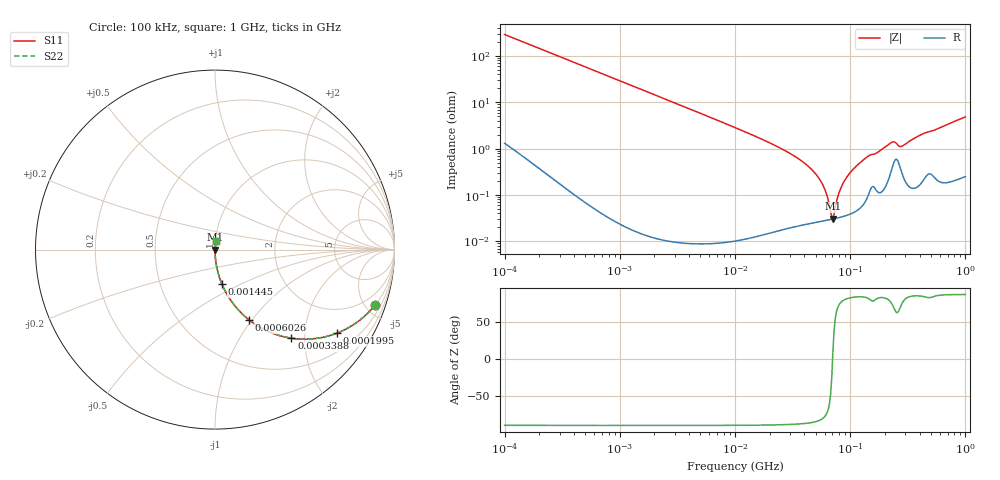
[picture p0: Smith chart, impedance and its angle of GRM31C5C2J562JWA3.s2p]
!Murata Part Number: GRM31C5C2J562JWA3
!These Parameters are Measured in Series Mode Connection
!Data Generated on Mar 30, 2021
!  o--ll--o
!Port1  Port2
!  o------o
!Operation Temp=25[degC], DC Bias Voltage=0[V]
!Freq. Start=100[kHz] Stop=1000[MHz] 401[Steps]
# Hz S RI R 50
!Freq.(Hz) S11(Real) S11(Imag) S21(Real) S21(Imag) S12(Real) S12(Imag) S22(Real) S22(Imag)
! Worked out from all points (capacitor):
!   401 points, 100 kHz to 1 GHz, reference 50 ohm
!   read as one part in series: C = 5.46 nF near 104.7 kHz
!   lowest |Z| = 30.7 mohm at 70.79 MHz (marker M1)
!   series resonance near 70.36 MHz, so ESL is about 940 pH
!   S11 on the Smith chart (normalised r, x): 100 kHz: 1.03, -5.82; 199.5 kHz: 1.01, -2.92; 338.8 kHz: 1.00, -1.72; 602.6 kHz: 1.00, -0.97; 1.445 MHz: 1.00, -0.40; 1 GHz: 1.00, +0.10
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100000  0.8935 -0.3063  0.1065 0.3063  0.1065 0.3063  0.8935 -0.3063
199526  0.6807 -0.4649  0.3193 0.4649  0.3193 0.4649  0.6807 -0.4649
338844  0.4258 -0.4937  0.5742 0.4937  0.5742 0.4937  0.4258 -0.4937
467735  0.2803 -0.4485  0.7197 0.4485  0.7197 0.4485  0.2803 -0.4485
602560  0.1901 -0.3919  0.8099 0.3919  0.8099 0.3919  0.1901 -0.3919
1445440  0.0393 -0.1938  0.9607 0.1938  0.9607 0.1938  0.0393 -0.1938
2187762  0.0175 -0.1309  0.9825 0.1309  0.9825 0.1309  0.0175 -0.1309
1e7  0.000915 -0.0285  0.9991 0.0285  0.9991 0.0285  0.000915 -0.0285
2.754229e7  0.000264 -0.00891  0.9997 0.00891  0.9997 0.00891  0.000264 -0.00891
4.677351e7  0.000259 -0.00345  0.9997 0.00345  0.9997 0.00345  0.000259 -0.00345
5.754399e7  0.000276 -0.00167  0.9997 0.00167  0.9997 0.00167  0.000276 -0.00167
6.16595e7  0.000283 -0.00109  0.9997 0.00109  0.9997 0.00109  0.000283 -0.00109
6.76083e7  0.000296 -0.000329  0.9997 0.000329  0.9997 0.000329  0.000296 -0.000329
7.079458e7  0.000303 5.16e-05  0.9997 -5.16e-05  0.9997 -5.16e-05  0.000303 5.16e-05
8.317638e7  0.000335 0.0014  0.9997 -0.0014  0.9997 -0.0014  0.000335 0.0014
1e8  0.000396 0.00301  0.9996 -0.00301  0.9996 -0.00301  0.000396 0.00301
1.380384e8  0.000831 0.00637  0.9992 -0.00637  0.9992 -0.00637  0.000831 0.00637
2.187762e8  0.00258 0.0124  0.9974 -0.0124  0.9974 -0.0124  0.00258 0.0124
2.398833e8  0.00523 0.013  0.9948 -0.013  0.9948 -0.013  0.00523 0.013
2.818383e8  0.00303 0.0109  0.997 -0.0109  0.997 -0.0109  0.00303 0.0109
4.265795e8  0.00241 0.0207  0.9976 -0.0207  0.9976 -0.0207  0.00241 0.0207
1e9  0.00481 0.048  0.9952 -0.048  0.9952 -0.048  0.00481 0.048
